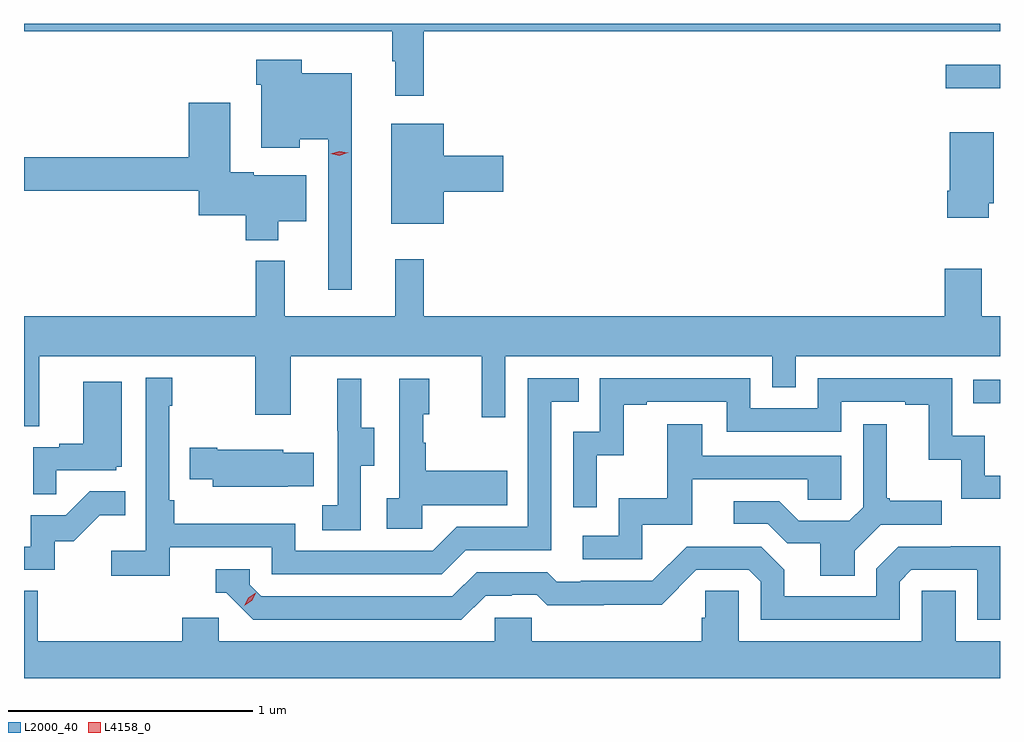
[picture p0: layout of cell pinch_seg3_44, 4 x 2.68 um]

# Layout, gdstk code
import gdstk
lib = gdstk.Library(unit=1e-6, precision=1e-09)
def R(c, l, rs):  # rectangles x0, y0, x1, y1
    for r in rs: c.add(gdstk.rectangle(r[:2], r[2:], *l))
def P(c, l, *ps):  # polygons
    for p in ps: c.add(gdstk.Polygon(p, *l))
L2000_40 = (2000, 40)
L4158_0 = (4158, 0)

pinch_seg3_44 = lib.new_cell('pinch_seg3_44')
R(pinch_seg3_44, L2000_40, [(1050.109,747.344,1050.219,747.441), (1049.997,748.635,1050.219,748.732)])
P(pinch_seg3_44, L2000_40, [(1047.857,748.868),(1050.219,748.868),(1050.219,748.9),(1046.219,748.9),(1046.219,748.868),(1047.728,748.868),(1047.728,748.745),(1047.74,748.745),(1047.74,748.605),(1047.857,748.605)],
  [(1047.562,748.696),(1047.357,748.696),(1047.357,748.753),(1047.17,748.753),(1047.17,748.649),(1047.191,748.649),(1047.191,748.391),(1047.349,748.391),(1047.349,748.427),(1047.465,748.427),(1047.465,747.81),(1047.562,747.81)],
  [(1047.262,748.091),(1047.376,748.091),(1047.376,748.279),(1047.16,748.279),(1047.16,748.292),(1047.064,748.292),(1047.064,748.576),(1046.894,748.576),(1046.894,748.352),(1046.219,748.352),(1046.219,748.216),(1046.936,748.216),(1046.936,748.114),(1047.128,748.114),(1047.128,748.013),(1047.262,748.013)],
  [(1047.94,748.211),(1048.183,748.211),(1048.183,748.358),(1047.94,748.358),(1047.94,748.489),(1047.725,748.489),(1047.725,748.079),(1047.94,748.079)],
  [(1050.172,748.164),(1050.193,748.164),(1050.193,748.456),(1050.014,748.456),(1050.014,748.216),(1050.002,748.216),(1050.002,748.104),(1050.172,748.104)],
  [(1046.281,747.536),(1047.166,747.536),(1047.166,747.297),(1047.313,747.297),(1047.313,747.536),(1048.094,747.536),(1048.094,747.288),(1048.191,747.288),(1048.191,747.536),(1049.286,747.536),(1049.286,747.409),(1049.382,747.409),(1049.382,747.536),(1050.219,747.536),(1050.219,747.7),(1050.145,747.7),(1050.145,747.895),(1049.993,747.895),(1049.993,747.7),(1047.857,747.7),(1047.857,747.934),(1047.74,747.934),(1047.74,747.7),(1047.287,747.7),(1047.287,747.928),(1047.169,747.928),(1047.169,747.7),(1046.219,747.7),(1046.219,747.25),(1046.281,747.25)],
  [(1046.816,746.754),(1047.234,746.754),(1047.234,746.643),(1047.931,746.643),(1048.03,746.742),(1048.38,746.742),(1048.38,747.351),(1048.493,747.351),(1048.493,747.447),(1048.284,747.447),(1048.284,746.838),(1047.993,746.838),(1047.894,746.739),(1047.33,746.739),(1047.33,746.851),(1046.834,746.851),(1046.834,746.947),(1046.814,746.947),(1046.814,747.335),(1046.827,747.335),(1046.827,747.448),(1046.718,747.448),(1046.718,746.74),(1046.577,746.74),(1046.577,746.638),(1046.816,746.638)],
  [(1048.566,747.131),(1048.676,747.131),(1048.676,747.339),(1048.771,747.339),(1048.771,747.351),(1049.1,747.351),(1049.1,747.228),(1049.568,747.228),(1049.568,747.351),(1049.831,747.351),(1049.831,747.339),(1049.927,747.339),(1049.927,747.113),(1050.06,747.113),(1050.06,746.952),(1050.219,746.952),(1050.219,747.048),(1050.156,747.048),(1050.156,747.211),(1050.024,747.211),(1050.024,747.447),(1049.472,747.447),(1049.472,747.324),(1049.196,747.324),(1049.196,747.447),(1048.578,747.447),(1048.578,747.228),(1048.47,747.228),(1048.47,746.919),(1048.566,746.919)],
  [(1047.6,747.088),(1047.655,747.088),(1047.655,747.243),(1047.601,747.243),(1047.601,747.445),(1047.503,747.445),(1047.503,747.231),(1047.504,747.231),(1047.504,746.927),(1047.441,746.927),(1047.441,746.824),(1047.6,746.824)],
  [(1047.852,746.927),(1048.199,746.927),(1048.199,747.067),(1047.865,747.067),(1047.865,747.182),(1047.855,747.182),(1047.855,747.3),(1047.88,747.3),(1047.88,747.445),(1047.756,747.445),(1047.756,746.954),(1047.705,746.954),(1047.705,746.829),(1047.852,746.829)],
  [(1046.351,747.069),(1046.598,747.069),(1046.598,747.084),(1046.62,747.084),(1046.62,747.433),(1046.462,747.433),(1046.462,747.178),(1046.363,747.178),(1046.363,747.165),(1046.256,747.165),(1046.256,746.971),(1046.351,746.971)],
  [(1048.752,746.847),(1048.957,746.847),(1048.957,747.033),(1049.431,747.033),(1049.431,746.949),(1049.568,746.949),(1049.568,747.129),(1048.999,747.129),(1048.999,747.259),(1048.855,747.259),(1048.855,746.956),(1048.656,746.956),(1048.656,746.802),(1048.509,746.802),(1048.509,746.706),(1048.752,746.706)],
  [(1049.623,746.74),(1049.73,746.847),(1049.98,746.847),(1049.98,746.944),(1049.767,746.944),(1049.767,746.956),(1049.755,746.956),(1049.755,747.259),(1049.658,747.259),(1049.658,746.919),(1049.601,746.862),(1049.395,746.862),(1049.314,746.943),(1049.127,746.943),(1049.127,746.85),(1049.268,746.85),(1049.348,746.77),(1049.483,746.77),(1049.483,746.638),(1049.623,746.638)],
  [(1047.299,747.005),(1047.407,747.005),(1047.407,747.142),(1047.282,747.142),(1047.282,747.154),(1047.01,747.154),(1047.01,747.162),(1046.899,747.162),(1046.899,747.032),(1046.993,747.032),(1046.993,747.002),(1047.299,747.002)],
  [(1046.346,746.778),(1046.422,746.778),(1046.529,746.885),(1046.633,746.885),(1046.633,746.984),(1046.489,746.984),(1046.391,746.886),(1046.247,746.886),(1046.247,746.757),(1046.219,746.757),(1046.219,746.661),(1046.346,746.661)],
  [(1048.111,746.556),(1048.218,746.556),(1048.218,746.559),(1048.321,746.559),(1048.363,746.517),(1048.596,746.517),(1048.596,746.519),(1048.832,746.519),(1048.974,746.661),(1049.19,746.661),(1049.238,746.613),(1049.238,746.457),(1049.808,746.457),(1049.808,746.613),(1049.856,746.661),(1050.126,746.661),(1050.126,746.457),(1050.219,746.457),(1050.219,746.759),(1050.018,746.759),(1050.018,746.757),(1049.802,746.757),(1049.712,746.667),(1049.712,746.553),(1049.335,746.553),(1049.335,746.663),(1049.241,746.757),(1048.935,746.757),(1048.794,746.616),(1048.501,746.616),(1048.501,746.613),(1048.402,746.613),(1048.363,746.652),(1048.074,746.652),(1047.975,746.553),(1047.192,746.553),(1047.144,746.601),(1047.144,746.664),(1047.005,746.664),(1047.005,746.568),(1047.048,746.568),(1047.159,746.457),(1048.012,746.457)],
  [(1050.219,746.368),(1050.037,746.368),(1050.037,746.576),(1049.898,746.576),(1049.898,746.368),(1049.148,746.368),(1049.148,746.576),(1049.011,746.576),(1049.011,746.466),(1048.997,746.466),(1048.997,746.368),(1048.299,746.368),(1048.299,746.466),(1048.149,746.466),(1048.149,746.368),(1047.018,746.368),(1047.018,746.466),(1046.867,746.466),(1046.867,746.368),(1046.276,746.368),(1046.276,746.576),(1046.219,746.576),(1046.219,746.217),(1050.219,746.217)])
P(pinch_seg3_44, L4158_0, [(1047.512,748.358),(1047.476,748.366),(1047.475,748.366),(1047.476,748.367),(1047.51,748.378),(1047.546,748.371),(1047.547,748.37),(1047.546,748.37)],
  [(1047.121,746.514),(1047.121,746.515),(1047.138,746.547),(1047.168,746.567),(1047.169,746.567),(1047.169,746.566),(1047.152,746.534),(1047.122,746.514)])

lib.write_gds('pinch_seg3_44.gds')
